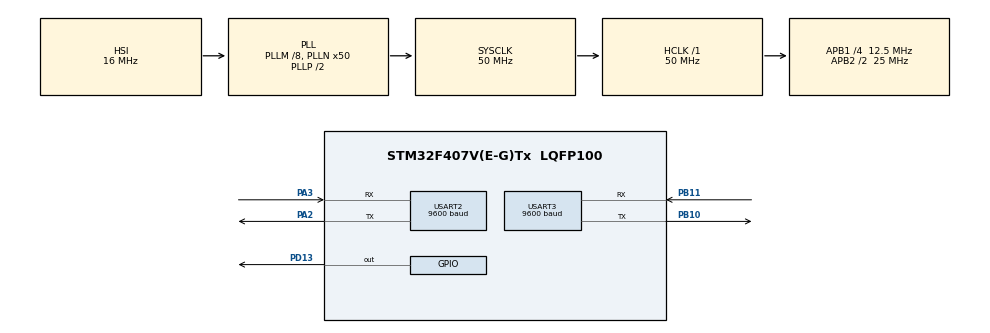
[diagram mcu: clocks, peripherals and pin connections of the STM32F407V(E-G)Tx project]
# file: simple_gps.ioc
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Mcu.Family=STM32F4
Mcu.Name=STM32F407V(E-G)Tx
Mcu.Package=LQFP100
NVIC.PriorityGroup=NVIC_PRIORITYGROUP_0
PA13.Mode=Serial_Wire
PA13.Signal=SYS_JTMS-SWDIO
PA14.Mode=Serial_Wire
PA14.Signal=SYS_JTCK-SWCLK
PA2.Mode=Asynchronous
PA2.Signal=USART2_TX
PA3.Mode=Asynchronous
PA3.Signal=USART2_RX
PB10.Mode=Asynchronous
PB10.Signal=USART3_TX
PB11.Mode=Asynchronous
PB11.Signal=USART3_RX
PD13.Signal=GPIO_Output
ProjectManager.HeapSize=0x200
ProjectManager.StackSize=0x400
ProjectManager.TargetToolchain=STM32CubeIDE
RCC.48MHZClocksFreq_Value=14285714.285714285
RCC.AHBFreq_Value=50000000
RCC.APB1CLKDivider=RCC_HCLK_DIV4
RCC.APB1Freq_Value=12500000
RCC.APB1TimFreq_Value=25000000
RCC.APB2CLKDivider=RCC_HCLK_DIV2
RCC.APB2Freq_Value=25000000
RCC.APB2TimFreq_Value=50000000
RCC.CortexFreq_Value=50000000
RCC.HCLKFreq_Value=50000000
RCC.HSE_VALUE=8000000
RCC.HSI_VALUE=16000000
RCC.PLLM=8
RCC.PLLN=50
RCC.PLLQ=7
RCC.SYSCLKFreq_VALUE=50000000
RCC.SYSCLKSource=RCC_SYSCLKSOURCE_PLLCLK
RCC.VCOOutputFreq_Value=100000000
USART2.BaudRate=9600
USART2.VirtualMode=VM_ASYNC
USART3.BaudRate=9600
USART3.VirtualMode=VM_ASYNC
board=STM32F407G-DISC1

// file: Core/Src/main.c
/* USER CODE BEGIN Header */
/**
  ******************************************************************************
  * @file           : main.c
  * @brief          : Main program body
  ******************************************************************************
  * @attention
  *
  * Copyright (c) 2025 STMicroelectronics.
  * All rights reserved.
  *
  * This software is licensed under terms that can be found in the LICENSE file
  * in the root directory of this software component.
  * If no LICENSE file comes with this software, it is provided AS-IS.
  *
  ******************************************************************************
  */
/* USER CODE END Header */
#include "main.h"

/* USER CODE BEGIN Includes */
#include "string.h"

/* USER CODE END Includes */

UART_HandleTypeDef huart2;
UART_HandleTypeDef huart3;

void SystemClock_Config(void);
static void MX_GPIO_Init(void);
static void MX_USART2_UART_Init(void);
static void MX_USART3_UART_Init(void);
/* USER CODE BEGIN PFP */
char gps_buffer[128];
uint8_t gps_byte;
uint16_t gps_index = 0;
/* USER CODE END PFP */

/* USER CODE BEGIN 0 */
void GPS_Parse_And_Print(char *gps_line)
{
    // Print only valid NMEA GPS sentences
    if (strncmp(gps_line, "$GP", 3) == 0)
    {
        HAL_UART_Transmit(&huart2,
                          (uint8_t *)gps_line,
                          strlen(gps_line),
                          100);

        HAL_UART_Transmit(&huart2,
                          (uint8_t *)"\r\n",
                          2,
                          100);
    }
}

/* USER CODE END 0 */

int main(void)
{

  /* MCU Configuration--------------------------------------------------------*/

  /* Reset of all peripherals, Initializes the Flash interface and the Systick. */
  HAL_Init();

  /* Configure the system clock */
  SystemClock_Config();

  /* Initialize all configured peripherals */
  MX_GPIO_Init();
  MX_USART2_UART_Init();
  MX_USART3_UART_Init();
  /* USER CODE BEGIN 2 */
  HAL_UART_Transmit(&huart2,(uint8_t*)"UART2 OK - Waiting for GPS...\r\n",33,100);
  /* USER CODE END 2 */

  /* Infinite loop */
  while (1)
  {
	  HAL_UART_Receive(&huart3, &gps_byte, 1, HAL_MAX_DELAY);
//	  //HAL_Delay(1000);
	  HAL_GPIO_TogglePin(GPIOD,GPIO_PIN_13);
//
//	  GPS_Parse_And_Print(gps_buffer);
//
//	      // Forward received GPS byte to UART2 (Minicom)
//	      HAL_UART_Transmit(&huart2, &gps_byte, 1, 100);
//    /* USER CODE BEGIN 3 */
	  if (gps_byte == '\n')
	  {
	      gps_buffer[gps_index] = '\0';   // End of string

	      GPS_Parse_And_Print(gps_buffer);  //

	      gps_index = 0;   // Reset buffer for next line
	  }
	  else
	  {
	      if (gps_index < sizeof(gps_buffer) - 1)
	      {
	          gps_buffer[gps_index++] = gps_byte;
	      }
	  }
  }
  /* USER CODE END 3 */
}

void SystemClock_Config(void)
{
  RCC_OscInitTypeDef RCC_OscInitStruct = {0};
  RCC_ClkInitTypeDef RCC_ClkInitStruct = {0};

  /** Configure the main internal regulator output voltage
  */
  __HAL_RCC_PWR_CLK_ENABLE();
  __HAL_PWR_VOLTAGESCALING_CONFIG(PWR_REGULATOR_VOLTAGE_SCALE1);

  /** Initializes the RCC Oscillators according to the specified parameters
  * in the RCC_OscInitTypeDef structure.
  */
  RCC_OscInitStruct.OscillatorType = RCC_OSCILLATORTYPE_HSI;
  RCC_OscInitStruct.HSIState = RCC_HSI_ON;
  RCC_OscInitStruct.HSICalibrationValue = RCC_HSICALIBRATION_DEFAULT;
  RCC_OscInitStruct.PLL.PLLState = RCC_PLL_ON;
  RCC_OscInitStruct.PLL.PLLSource = RCC_PLLSOURCE_HSI;
  RCC_OscInitStruct.PLL.PLLM = 8;
  RCC_OscInitStruct.PLL.PLLN = 50;
  RCC_OscInitStruct.PLL.PLLP = RCC_PLLP_DIV2;
  RCC_OscInitStruct.PLL.PLLQ = 7;
  if (HAL_RCC_OscConfig(&RCC_OscInitStruct) != HAL_OK)
  {
    Error_Handler();
  }

  /** Initializes the CPU, AHB and APB buses clocks
  */
  RCC_ClkInitStruct.ClockType = RCC_CLOCKTYPE_HCLK|RCC_CLOCKTYPE_SYSCLK
                              |RCC_CLOCKTYPE_PCLK1|RCC_CLOCKTYPE_PCLK2;
  RCC_ClkInitStruct.SYSCLKSource = RCC_SYSCLKSOURCE_PLLCLK;
  RCC_ClkInitStruct.AHBCLKDivider = RCC_SYSCLK_DIV1;
  RCC_ClkInitStruct.APB1CLKDivider = RCC_HCLK_DIV4;
  RCC_ClkInitStruct.APB2CLKDivider = RCC_HCLK_DIV2;

  if (HAL_RCC_ClockConfig(&RCC_ClkInitStruct, FLASH_LATENCY_1) != HAL_OK)
  {
    Error_Handler();
  }
}

static void MX_USART2_UART_Init(void)
{

  huart2.Instance = USART2;
  huart2.Init.BaudRate = 9600;
  huart2.Init.WordLength = UART_WORDLENGTH_8B;
  huart2.Init.StopBits = UART_STOPBITS_1;
  huart2.Init.Parity = UART_PARITY_NONE;
  huart2.Init.Mode = UART_MODE_TX_RX;
  huart2.Init.HwFlowCtl = UART_HWCONTROL_NONE;
  huart2.Init.OverSampling = UART_OVERSAMPLING_16;
  if (HAL_UART_Init(&huart2) != HAL_OK)
  {
    Error_Handler();
  }

}

static void MX_USART3_UART_Init(void)
{

  huart3.Instance = USART3;
  huart3.Init.BaudRate = 9600;
  huart3.Init.WordLength = UART_WORDLENGTH_8B;
  huart3.Init.StopBits = UART_STOPBITS_1;
  huart3.Init.Parity = UART_PARITY_NONE;
  huart3.Init.Mode = UART_MODE_TX_RX;
  huart3.Init.HwFlowCtl = UART_HWCONTROL_NONE;
  huart3.Init.OverSampling = UART_OVERSAMPLING_16;
  if (HAL_UART_Init(&huart3) != HAL_OK)
  {
    Error_Handler();
  }

}

static void MX_GPIO_Init(void)
{
  GPIO_InitTypeDef GPIO_InitStruct = {0};

  /* GPIO Ports Clock Enable */
  __HAL_RCC_GPIOA_CLK_ENABLE();
  __HAL_RCC_GPIOB_CLK_ENABLE();
  __HAL_RCC_GPIOD_CLK_ENABLE();

  /*Configure GPIO pin Output Level */
  HAL_GPIO_WritePin(GPIOD, GPIO_PIN_13, GPIO_PIN_RESET);

  /*Configure GPIO pin : PD13 */
  GPIO_InitStruct.Pin = GPIO_PIN_13;
  GPIO_InitStruct.Mode = GPIO_MODE_OUTPUT_PP;
  GPIO_InitStruct.Pull = GPIO_NOPULL;
  GPIO_InitStruct.Speed = GPIO_SPEED_FREQ_LOW;
  HAL_GPIO_Init(GPIOD, &GPIO_InitStruct);

}

void Error_Handler(void)
{
  __disable_irq();
  while (1)
  {
  }
}
